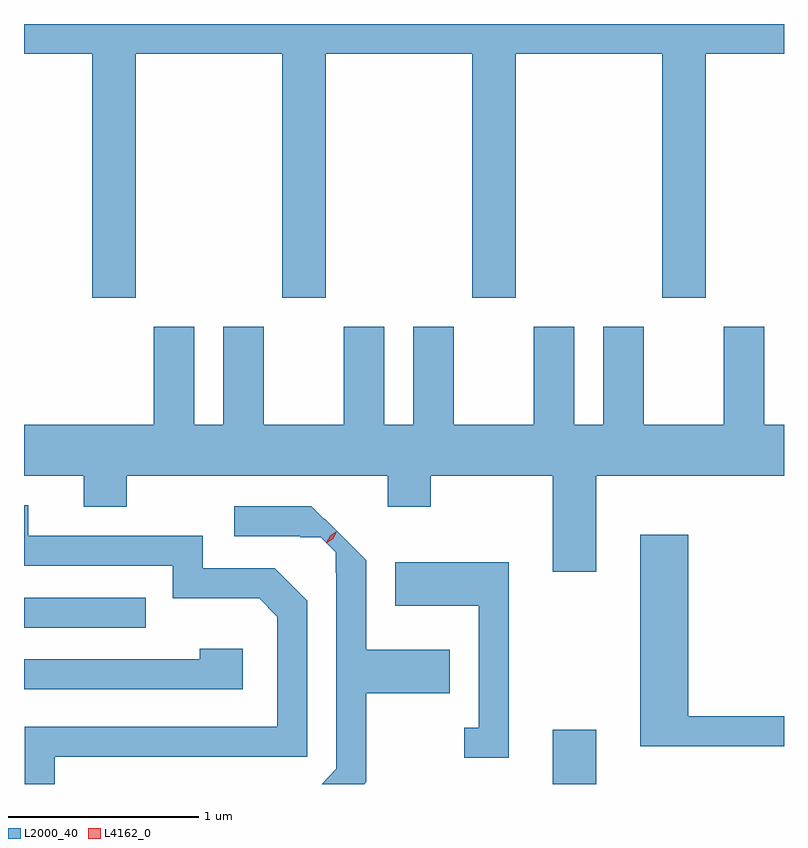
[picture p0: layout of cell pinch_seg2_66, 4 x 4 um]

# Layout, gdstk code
import gdstk
lib = gdstk.Library(unit=1e-6, precision=1e-09)
def R(c, l, rs):  # rectangles x0, y0, x1, y1
    for r in rs: c.add(gdstk.rectangle(r[:2], r[2:], *l))
def P(c, l, *ps):  # polygons
    for p in ps: c.add(gdstk.Polygon(p, *l))
L2000_40 = (2000, 40)
L4162_0 = (4162, 0)

pinch_seg2_66 = lib.new_cell('pinch_seg2_66')
R(pinch_seg2_66, L2000_40, [(1137.931,986.753,1138.159,987.039), (1135.147,987.576,1135.788,987.734)])
P(pinch_seg2_66, L2000_40, [(1135.734,990.596),(1136.506,990.596),(1136.506,989.311),(1136.734,989.311),(1136.734,990.596),(1137.506,990.596),(1137.506,989.311),(1137.734,989.311),(1137.734,990.596),(1138.506,990.596),(1138.506,989.311),(1138.734,989.311),(1138.734,990.596),(1139.147,990.596),(1139.147,990.753),(1135.147,990.753),(1135.147,990.596),(1135.506,990.596),(1135.506,989.311),(1135.734,989.311)],
  [(1139.147,988.644),(1139.044,988.644),(1139.044,989.159),(1138.831,989.159),(1138.831,988.644),(1138.409,988.644),(1138.409,989.159),(1138.196,989.159),(1138.196,988.644),(1138.044,988.644),(1138.044,989.159),(1137.831,989.159),(1137.831,988.644),(1137.409,988.644),(1137.409,989.159),(1137.196,989.159),(1137.196,988.644),(1137.044,988.644),(1137.044,989.159),(1136.831,989.159),(1136.831,988.644),(1136.409,988.644),(1136.409,989.159),(1136.196,989.159),(1136.196,988.644),(1136.044,988.644),(1136.044,989.159),(1135.831,989.159),(1135.831,988.644),(1135.147,988.644),(1135.147,988.376),(1135.461,988.376),(1135.461,988.211),(1135.689,988.211),(1135.689,988.376),(1137.061,988.376),(1137.061,988.211),(1137.289,988.211),(1137.289,988.376),(1137.931,988.376),(1137.931,987.871),(1138.159,987.871),(1138.159,988.376),(1139.147,988.376)],
  [(1135.309,986.896),(1136.639,986.896),(1136.639,987.717),(1136.467,987.889),(1136.089,987.889),(1136.089,988.059),(1135.169,988.059),(1135.169,988.219),(1135.147,988.219),(1135.147,987.901),(1135.931,987.901),(1135.931,987.731),(1136.384,987.731),(1136.481,987.634),(1136.481,987.054),(1135.151,987.054),(1135.151,986.753),(1135.309,986.753)],
  [(1136.949,986.764),(1136.949,987.231),(1137.389,987.231),(1137.389,987.459),(1136.949,987.459),(1136.949,987.93),(1136.73,988.149),(1136.728,988.146),(1136.66,988.214),(1136.253,988.214),(1136.253,988.056),(1136.6,988.056),(1136.6,988.052),(1136.709,988.052),(1136.787,987.974),(1136.787,987.865),(1136.791,987.865),(1136.791,986.832),(1136.713,986.753),(1136.938,986.753)],
  [(1139.147,987.109),(1138.644,987.109),(1138.644,988.064),(1138.391,988.064),(1138.391,986.951),(1139.147,986.951)],
  [(1137.699,987.919),(1137.101,987.919),(1137.101,987.691),(1137.541,987.691),(1137.541,987.049),(1137.463,987.049),(1137.463,986.891),(1137.699,986.891)],
  [(1136.299,987.464),(1136.071,987.464),(1136.071,987.409),(1135.147,987.409),(1135.147,987.251),(1136.299,987.251)])
P(pinch_seg2_66, L4162_0, [(1136.738,988.021),(1136.738,988.022),(1136.758,988.059),(1136.792,988.084),(1136.793,988.084),(1136.793,988.083),(1136.773,988.046),(1136.739,988.021)],
  [(1136.744,988.025),(1136.744,988.025),(1136.76,988.057),(1136.79,988.076),(1136.791,988.076),(1136.791,988.075),(1136.775,988.044),(1136.745,988.025)])

lib.write_gds('pinch_seg2_66.gds')
